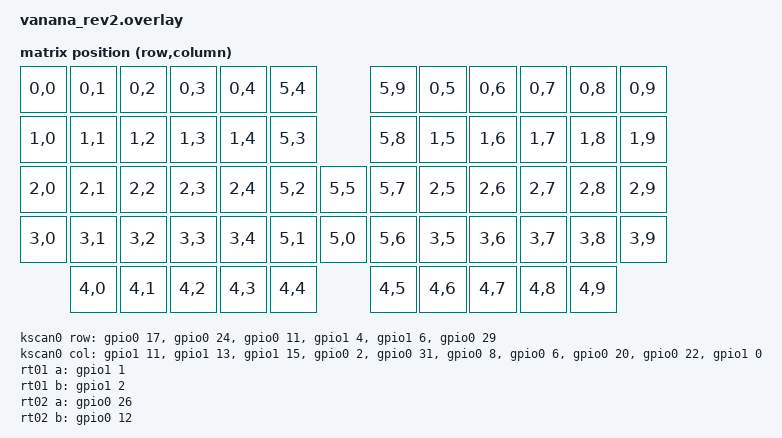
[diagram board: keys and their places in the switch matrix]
#include "vanana.dtsi"

/ {
	chosen {
		zmk,kscan = &kscan0;
		zmk,matrix_transform = &default_transform;
	};

	kscan0: kscan {
		compatible = "zmk,kscan-gpio-matrix";
		label = "KSCAN";

		diode-direction = "col2row";
		row-gpios 
		    = <&gpio0 17 (GPIO_ACTIVE_HIGH | GPIO_PULL_DOWN)> 
			, <&gpio0 24 (GPIO_ACTIVE_HIGH | GPIO_PULL_DOWN)>
			, <&gpio0 11 (GPIO_ACTIVE_HIGH | GPIO_PULL_DOWN)>
			, <&gpio1 4 (GPIO_ACTIVE_HIGH | GPIO_PULL_DOWN)>
      		, <&gpio1 6 (GPIO_ACTIVE_HIGH | GPIO_PULL_DOWN)>
      		, <&gpio0 29 (GPIO_ACTIVE_HIGH | GPIO_PULL_DOWN)>
			;

        col-gpios
		    = <&gpio1 11 GPIO_ACTIVE_HIGH>
    		, <&gpio1 13 GPIO_ACTIVE_HIGH>
			, <&gpio1 15 GPIO_ACTIVE_HIGH>
			, <&gpio0 2 GPIO_ACTIVE_HIGH>
			, <&gpio0 31 GPIO_ACTIVE_HIGH>
			, <&gpio0 8 GPIO_ACTIVE_HIGH>
			, <&gpio0 6 GPIO_ACTIVE_HIGH>
			, <&gpio0 20 GPIO_ACTIVE_HIGH>
			, <&gpio0 22 GPIO_ACTIVE_HIGH>
			, <&gpio1 0 GPIO_ACTIVE_HIGH>
		    ;

	};

	default_transform: keymap_transform_0 {
		compatible = "zmk,matrix-transform";
		columns = <10>;
		rows = <6>;

		map = <
            RC(0,0) RC(0,1) RC(0,2) RC(0,3) RC(0,4)	RC(5,4)			RC(5,9)	RC(0,5) RC(0,6) RC(0,7) RC(0,8) RC(0,9)
			RC(1,0) RC(1,1) RC(1,2) RC(1,3) RC(1,4)	RC(5,3)			RC(5,8)	RC(1,5) RC(1,6) RC(1,7) RC(1,8) RC(1,9)
			RC(2,0) RC(2,1) RC(2,2) RC(2,3) RC(2,4)	RC(5,2)	RC(5,5)	RC(5,7)	RC(2,5) RC(2,6) RC(2,7) RC(2,8) RC(2,9)
			RC(3,0) RC(3,1) RC(3,2) RC(3,3) RC(3,4)	RC(5,1)	RC(5,0)	RC(5,6)	RC(3,5) RC(3,6) RC(3,7) RC(3,8) RC(3,9)
				 	RC(4,0) RC(4,1) RC(4,2) RC(4,3)	RC(4,4)			RC(4,5)	RC(4,6) RC(4,7) RC(4,8) RC(4,9) 

		>;
	};

	rt01: encoder_01 {
        compatible = "alps,ec11";
        label = "ENCODER 01";
        a-gpios = <&gpio1 1 (GPIO_ACTIVE_HIGH | GPIO_PULL_UP)>;
        b-gpios = <&gpio1 2 (GPIO_ACTIVE_HIGH | GPIO_PULL_UP)>;
        resolution = <4>;
		status = "okay";
    };

	rt02: encoder_02 {
        compatible = "alps,ec11";
        label = "ENCODER 02";
        a-gpios = <&gpio0 26 (GPIO_ACTIVE_HIGH | GPIO_PULL_UP)>;
        b-gpios = <&gpio0 12 (GPIO_ACTIVE_HIGH | GPIO_PULL_UP)>;
        resolution = <4>;
		status = "okay";
    };

	sensors {
        compatible = "zmk,keymap-sensors";
        sensors = <&rt01 &rt02>;
    };
	
};

&rt01 {
	status = "okay";
};

&rt02 {
	status = "okay";
};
